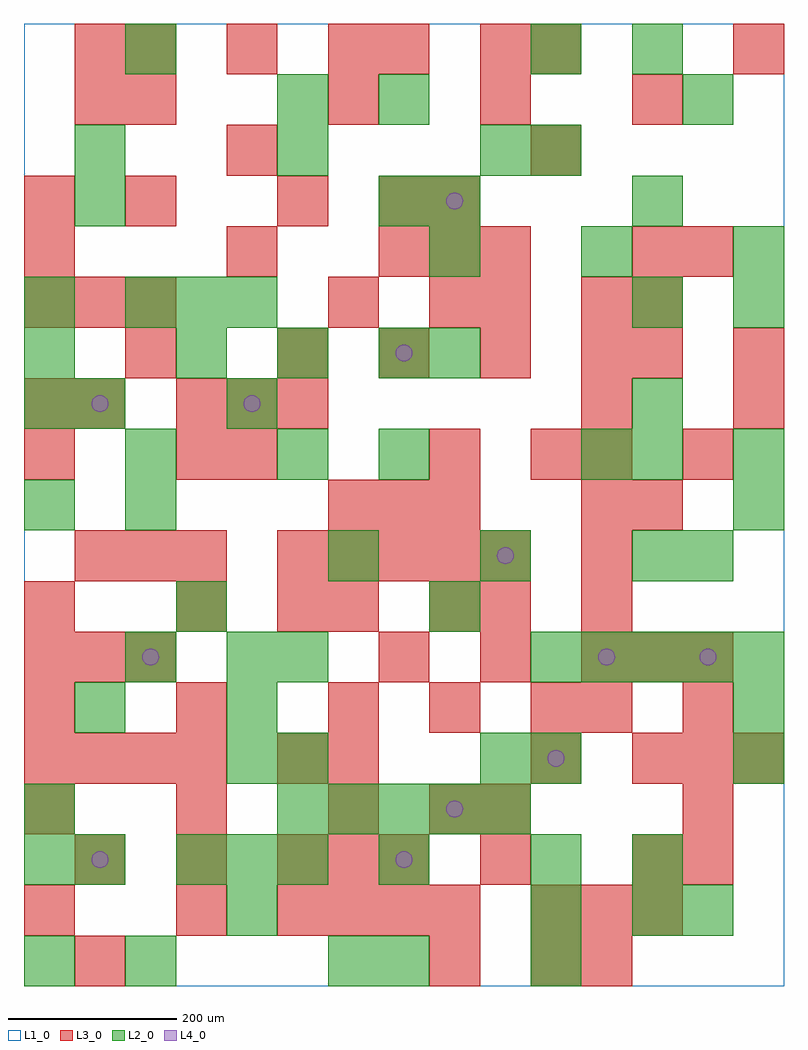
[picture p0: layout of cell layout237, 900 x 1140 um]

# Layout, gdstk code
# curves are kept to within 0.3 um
import gdstk
lib = gdstk.Library(unit=1e-6, precision=1e-09)
def R(c, l, rs):  # rectangles x0, y0, x1, y1
    for r in rs: c.add(gdstk.rectangle(r[:2], r[2:], *l))
def A(c, l, x, y, w, h, nx, ny, dx, dy):  # array of equal rectangles
    R(c, l, [(x+i*dx, y+j*dy, x+i*dx+w, y+j*dy+h) for i in range(nx) for j in range(ny)])
def P(c, l, *ps):  # polygons
    for p in ps: c.add(gdstk.Polygon(p, *l))
L1_0 = (1, 0)
L2_0 = (2, 0)
L3_0 = (3, 0)
L4_0 = (4, 0)

layout237 = lib.new_cell('layout237')
R(layout237, L1_0, [(0,0,900,1140)])
A(layout237, L2_0, 600, 0, 60, 60, 1, 3, 0, 60)
A(layout237, L2_0, 180, 120, 60, 60, 3, 1, 60, 0)
A(layout237, L2_0, 300, 180, 60, 60, 5, 1, 60, 0)
A(layout237, L2_0, 240, 240, 60, 60, 1, 3, 0, 60)
A(layout237, L2_0, 600, 360, 60, 60, 5, 1, 60, 0)
A(layout237, L2_0, 360, 480, 60, 60, 3, 1, 180, 0)
A(layout237, L2_0, 0, 660, 60, 60, 1, 3, 0, 60)
A(layout237, L2_0, 720, 660, 60, 60, 1, 3, 0, 120)
A(layout237, L2_0, 180, 720, 60, 60, 3, 1, 120, 0)
A(layout237, L2_0, 120, 780, 60, 60, 3, 1, 60, 0)
A(layout237, L2_0, 480, 840, 60, 60, 3, 1, 180, 0)
A(layout237, L2_0, 60, 960, 60, 60, 3, 1, 240, 0)
R(layout237, L2_0, [(0,0,60,60), (120,0,180,60), (360,0,420,60), (420,0,480,60), (240,60,300,120), (720,60,780,120), (780,60,840,120), (0,120,60,180), (60,120,120,180), (420,120,480,180), (720,120,780,180), (0,180,60,240), (300,240,360,300), (540,240,600,300), (600,240,660,300), (840,240,900,300), (60,300,120,360), (840,300,900,360), (120,360,180,420), (300,360,360,420), (180,420,240,480), (480,420,540,480), (780,480,840,540), (0,540,60,600), (120,540,180,600), (840,540,900,600), (120,600,180,660), (300,600,360,660), (420,600,480,660), (660,600,720,660), (720,600,780,660), (840,600,900,660), (60,660,120,720), (240,660,300,720), (480,720,540,780), (840,780,900,840), (60,900,120,960), (420,900,480,960), (480,900,540,960), (600,960,660,1020), (300,1020,360,1080), (420,1020,480,1080), (780,1020,840,1080), (120,1080,180,1140), (600,1080,660,1140), (720,1080,780,1140)])
A(layout237, L3_0, 300, 60, 60, 60, 4, 1, 60, 0)
A(layout237, L3_0, 600, 60, 60, 60, 3, 1, 60, 0)
A(layout237, L3_0, 60, 120, 60, 60, 3, 1, 120, 0)
A(layout237, L3_0, 0, 180, 60, 60, 3, 2, 180, 120)
A(layout237, L3_0, 480, 180, 60, 60, 1, 3, 0, 120)
A(layout237, L3_0, 0, 240, 60, 60, 4, 1, 60, 0)
A(layout237, L3_0, 720, 240, 60, 60, 3, 1, 60, 0)
A(layout237, L3_0, 0, 360, 60, 60, 3, 2, 60, 420)
A(layout237, L3_0, 420, 360, 60, 60, 3, 1, 120, 0)
A(layout237, L3_0, 720, 360, 60, 60, 1, 3, 0, 180)
A(layout237, L3_0, 780, 360, 60, 60, 1, 3, 0, 240)
A(layout237, L3_0, 660, 420, 60, 60, 1, 5, 0, 60)
A(layout237, L3_0, 60, 480, 60, 60, 3, 1, 60, 0)
A(layout237, L3_0, 300, 480, 60, 60, 5, 1, 60, 0)
A(layout237, L3_0, 360, 540, 60, 60, 3, 1, 60, 0)
A(layout237, L3_0, 180, 660, 60, 60, 3, 1, 60, 0)
A(layout237, L3_0, 300, 720, 60, 60, 4, 1, 120, 0)
A(layout237, L3_0, 420, 840, 60, 60, 3, 1, 60, 0)
A(layout237, L3_0, 360, 1020, 60, 60, 3, 1, 180, 0)
A(layout237, L3_0, 120, 1080, 60, 60, 3, 1, 120, 0)
R(layout237, L3_0, [(60,0,120,60), (480,0,540,60), (600,0,660,60), (660,0,720,60), (0,60,60,120), (180,60,240,120), (360,120,420,180), (420,120,480,180), (540,120,600,180), (720,120,780,180), (780,120,840,180), (540,180,600,240), (780,180,840,240), (300,240,360,300), (360,240,420,300), (600,240,660,300), (600,300,660,360), (660,300,720,360), (780,300,840,360), (0,420,60,480), (180,420,240,480), (300,420,360,480), (360,420,420,480), (540,420,600,480), (0,600,60,660), (180,600,240,660), (240,600,300,660), (480,600,540,660), (600,600,660,660), (0,660,60,720), (60,660,120,720), (840,660,900,720), (120,720,180,780), (840,720,900,780), (360,780,420,840), (480,780,540,840), (540,780,600,840), (660,780,720,840), (720,780,780,840), (0,840,60,900), (240,840,300,900), (720,840,780,900), (0,900,60,960), (120,900,180,960), (300,900,360,960), (420,900,480,960), (480,900,540,960), (240,960,300,1020), (600,960,660,1020), (60,1020,120,1080), (120,1020,180,1080), (60,1080,120,1140), (420,1080,480,1140), (540,1080,600,1140), (600,1080,660,1140), (840,1080,900,1140)])
P(layout237, L4_0, [(100,150),(99.239,153.827),(97.071,157.071),(93.827,159.239),(90,160),(86.173,159.239),(82.929,157.071),(80.761,153.827),(80,150),(80.761,146.173),(82.929,142.929),(86.173,140.761),(90,140),(93.827,140.761),(97.071,142.929),(99.239,146.173)],
  [(100,690),(99.239,693.827),(97.071,697.071),(93.827,699.239),(90,700),(86.173,699.239),(82.929,697.071),(80.761,693.827),(80,690),(80.761,686.173),(82.929,682.929),(86.173,680.761),(90,680),(93.827,680.761),(97.071,682.929),(99.239,686.173)],
  [(160,390),(159.239,393.827),(157.071,397.071),(153.827,399.239),(150,400),(146.173,399.239),(142.929,397.071),(140.761,393.827),(140,390),(140.761,386.173),(142.929,382.929),(146.173,380.761),(150,380),(153.827,380.761),(157.071,382.929),(159.239,386.173)],
  [(280,690),(279.239,693.827),(277.071,697.071),(273.827,699.239),(270,700),(266.173,699.239),(262.929,697.071),(260.761,693.827),(260,690),(260.761,686.173),(262.929,682.929),(266.173,680.761),(270,680),(273.827,680.761),(277.071,682.929),(279.239,686.173)],
  [(460,150),(459.239,153.827),(457.071,157.071),(453.827,159.239),(450,160),(446.173,159.239),(442.929,157.071),(440.761,153.827),(440,150),(440.761,146.173),(442.929,142.929),(446.173,140.761),(450,140),(453.827,140.761),(457.071,142.929),(459.239,146.173)],
  [(460,750),(459.239,753.827),(457.071,757.071),(453.827,759.239),(450,760),(446.173,759.239),(442.929,757.071),(440.761,753.827),(440,750),(440.761,746.173),(442.929,742.929),(446.173,740.761),(450,740),(453.827,740.761),(457.071,742.929),(459.239,746.173)],
  [(520,210),(519.239,213.827),(517.071,217.071),(513.827,219.239),(510,220),(506.173,219.239),(502.929,217.071),(500.761,213.827),(500,210),(500.761,206.173),(502.929,202.929),(506.173,200.761),(510,200),(513.827,200.761),(517.071,202.929),(519.239,206.173)],
  [(520,930),(519.239,933.827),(517.071,937.071),(513.827,939.239),(510,940),(506.173,939.239),(502.929,937.071),(500.761,933.827),(500,930),(500.761,926.173),(502.929,922.929),(506.173,920.761),(510,920),(513.827,920.761),(517.071,922.929),(519.239,926.173)],
  [(580,510),(579.239,513.827),(577.071,517.071),(573.827,519.239),(570,520),(566.173,519.239),(562.929,517.071),(560.761,513.827),(560,510),(560.761,506.173),(562.929,502.929),(566.173,500.761),(570,500),(573.827,500.761),(577.071,502.929),(579.239,506.173)],
  [(640,270),(639.239,273.827),(637.071,277.071),(633.827,279.239),(630,280),(626.173,279.239),(622.929,277.071),(620.761,273.827),(620,270),(620.761,266.173),(622.929,262.929),(626.173,260.761),(630,260),(633.827,260.761),(637.071,262.929),(639.239,266.173)],
  [(700,390),(699.239,393.827),(697.071,397.071),(693.827,399.239),(690,400),(686.173,399.239),(682.929,397.071),(680.761,393.827),(680,390),(680.761,386.173),(682.929,382.929),(686.173,380.761),(690,380),(693.827,380.761),(697.071,382.929),(699.239,386.173)],
  [(820,390),(819.239,393.827),(817.071,397.071),(813.827,399.239),(810,400),(806.173,399.239),(802.929,397.071),(800.761,393.827),(800,390),(800.761,386.173),(802.929,382.929),(806.173,380.761),(810,380),(813.827,380.761),(817.071,382.929),(819.239,386.173)])

lib.write_gds('layout237.gds')
